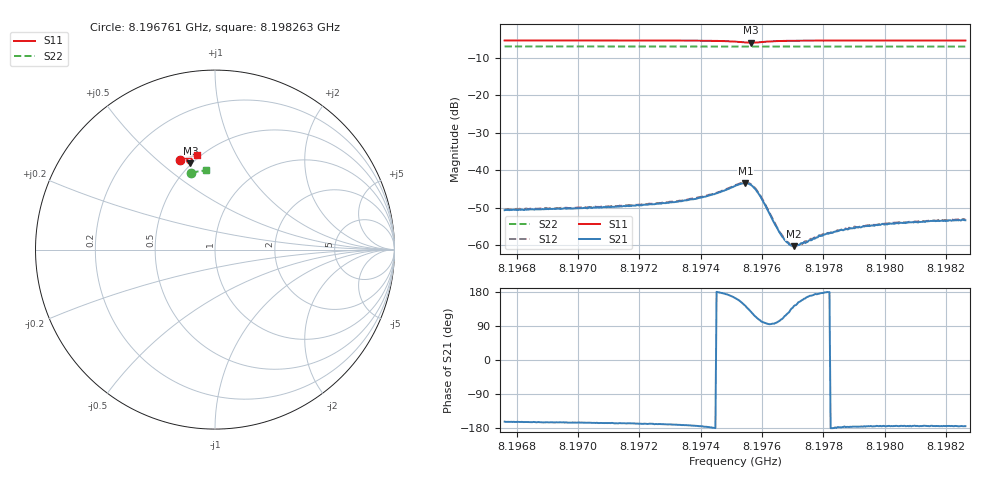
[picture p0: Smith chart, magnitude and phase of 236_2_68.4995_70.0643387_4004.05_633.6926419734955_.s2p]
#  HZ  S  RI  R  50.00
! Rohde & Schwarz Vector Network Analyzer
! Rohde-Schwarz,ZNB20-2Port,1311601062101988,3.16
! Created: UTC 3/20/2024, 5:14:15 PM
! freq[Hz]  re:S11  im:S11  re:S21  im:S21  re:S12  im:S12  re:S22  im:S22
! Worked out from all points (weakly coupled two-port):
!   401 points, 8.196761 GHz to 8.198263 GHz, reference 50 ohm
!   highest |S21| = -43.49 dB at 8.197546 GHz (marker M1); lowest = -60.3 dB at 8.197703 GHz (marker M2)
!   lowest |S11| = -6.0 dB at 8.197565 GHz (marker M3), VSWR 3.00, Z = 24.6 + j31.6 ohm
!   |S11| at or under -10 dB: nowhere
!   |S22| runs from -7.1 to -7.0 dB; largest |S21 - S12| = 0.00033
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8.196761e9  -0.1977 0.4984  -0.00278 -0.000872  -0.0029 -0.000749  -0.1314 0.4269
8.1970126e9  -0.1798 0.5046  -0.00299 -0.000808  -0.00311 -0.000677  -0.1176 0.4305
8.1972642e9  -0.1602 0.5101  -0.00349 -0.000681  -0.00359 -0.000503  -0.1038 0.4335
8.1973318e9  -0.1537 0.5112  -0.0038 -0.000589  -0.00388 -0.000432  -0.0999 0.4343
8.1974144e9  -0.1443 0.5115  -0.00439 -0.000289  -0.00452 -0.000129  -0.0953 0.4351
8.1974594e9  -0.1375 0.5099  -0.00504 0.000132  -0.00509 0.000317  -0.0926 0.4355
8.197512e9  -0.1281 0.5014  -0.00587 0.00172  -0.00593 0.00196  -0.0896 0.4359
8.1975458e9  -0.1287 0.4873  -0.00534 0.00403  -0.00527 0.00432  -0.0879 0.4358
8.1975645e9  -0.1372 0.4811  -0.00375 0.00506  -0.00367 0.00529  -0.087 0.4358
8.1975796e9  -0.1456 0.4812  -0.00221 0.00501  -0.00209 0.00522  -0.0865 0.436
8.1975946e9  -0.1521 0.4856  -0.00109 0.00432  -0.000898 0.00448  -0.0858 0.4364
8.1976509e9  -0.1537 0.5035  -0.000293 0.00161  -0.000217 0.00165  -0.0829 0.4372
8.1976659e9  -0.1519 0.5061  -0.000407 0.00122  -0.000377 0.00129  -0.0818 0.4374
8.1976847e9  -0.1496 0.5086  -0.000599 0.000892  -0.000556 0.000926  -0.0809 0.4376
8.1977035e9  -0.1473 0.5107  -0.000758 0.000595  -0.000757 0.000682  -0.0799 0.4378
8.1977222e9  -0.1452 0.5122  -0.000901 0.000446  -0.000897 0.000523  -0.0788 0.4379
8.1977635e9  -0.1409 0.5146  -0.00116 0.000195  -0.00115 0.000265  -0.0763 0.4383
8.1977973e9  -0.1374 0.5161  -0.00133 7.54e-05  -0.00138 0.000123  -0.0745 0.4387
8.1978537e9  -0.1323 0.5178  -0.00158 -7.09e-05  -0.00157 -1.33e-07  -0.0713 0.4391
8.1978987e9  -0.1286 0.5191  -0.00168 -0.000122  -0.00174 -7.14e-05  -0.0686 0.4395
8.1980151e9  -0.1191 0.5215  -0.0019 -0.000204  -0.00196 -0.000103  -0.0622 0.4403
8.1982629e9  -0.1006 0.5254  -0.00213 -0.0002  -0.00221 -0.000122  -0.0481 0.4414
